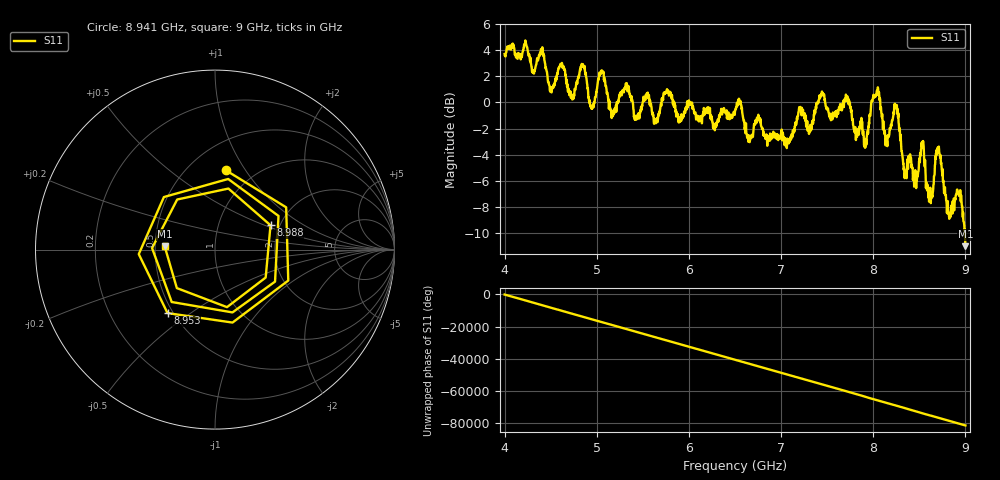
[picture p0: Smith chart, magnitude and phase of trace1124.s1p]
! Created with skrf 1.8.0 (http://scikit-rf.org).
# Hz S RI R 50.0
!freq ReS11 ImS11
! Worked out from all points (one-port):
!   1601 points, 4 GHz to 9 GHz, reference 50 ohm
!   lowest |S11| = -11.0 dB at 9 GHz (marker M1), VSWR 1.78, Z = 28.1 + j1.17 ohm
!   |S11| at or under -10 dB: 8.995296 GHz to end of sweep
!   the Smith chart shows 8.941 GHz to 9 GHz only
!   S11 on the Smith chart (normalised r, x): 8.941 GHz: 0.75, +0.82; 8.953 GHz: 0.47, -0.41; 8.988 GHz: 1.79, +0.55; 9 GHz: 0.56, +0.02
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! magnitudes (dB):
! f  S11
! 4 GHz  3.7
! 4.403 GHz  3.9
! 4.509 GHz  0.8
! 4.625 GHz  2.9
! 4.728 GHz  0.6
! 4.844 GHz  2.9
! 4.941 GHz  -0.4
! 5.05 GHz  2.2
! 5.156 GHz  -0.6
! 5.25 GHz  0.6
! 5.875 GHz  -1.0
! 6.5 GHz  -0.7
! 7.125 GHz  -2.6
! 7.441 GHz  0.7
! 7.75 GHz  -0.4
! 7.912 GHz  -3.5
! 8.028 GHz  0.5
! 8.147 GHz  -2.9
! 8.247 GHz  -0.3
! 8.375 GHz  -5.0
! 8.538 GHz  -3.1
! 8.625 GHz  -7.7
! 8.706 GHz  -3.7
! 8.816 GHz  -8.5
! 8.941 GHz  -7.0
! 8.953 GHz  -7.1
! 8.988 GHz  -9.4
! 9 GHz  -11.0
